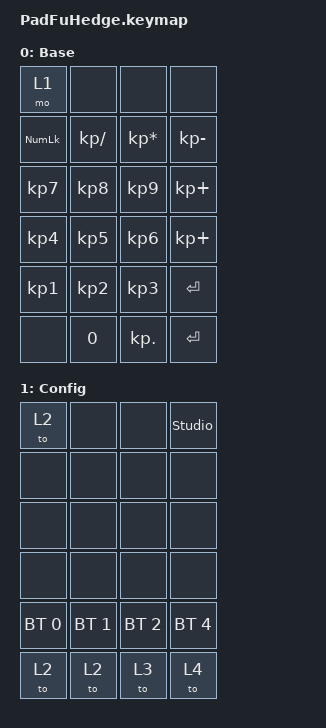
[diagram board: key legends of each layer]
#include <behaviors.dtsi>
#include <dt-bindings/zmk/keys.h>
#include <dt-bindings/zmk/bt.h>

/ {
    macros {
        mp_01: mp_01 {
            compatible = "zmk,behavior-macro";
            #binding-cells = <0>;
            bindings = <&kp F13>;
        };

        mp_02: mp_02 {
            compatible = "zmk,behavior-macro";
            #binding-cells = <0>;
            bindings = <&kp F14>;
        };

        mp_03: mp_03 {
            compatible = "zmk,behavior-macro";
            #binding-cells = <0>;
            bindings = <&kp F15>;
        };

        mp_04: mp_04 {
            compatible = "zmk,behavior-macro";
            #binding-cells = <0>;
            bindings = <&kp F16>;
        };

        mp_05: mp_05 {
            compatible = "zmk,behavior-macro";
            #binding-cells = <0>;
            bindings = <&kp F17>;
        };

        mp_06: mp_06 {
            compatible = "zmk,behavior-macro";
            #binding-cells = <0>;
            bindings = <&kp F18>;
        };

        mp_07: mp_07 {
            compatible = "zmk,behavior-macro";
            #binding-cells = <0>;
            bindings = <&kp F19>;
        };

        mp_08: mp_08 {
            compatible = "zmk,behavior-macro";
            #binding-cells = <0>;
            bindings = <&kp F20>;
        };

        mp_09: mp_09 {
            compatible = "zmk,behavior-macro";
            #binding-cells = <0>;
            bindings = <&kp F21>;
        };

        mp_10: mp_10 {
            compatible = "zmk,behavior-macro";
            #binding-cells = <0>;
            bindings = <&kp F22>;
        };

        mp_11: mp_11 {
            compatible = "zmk,behavior-macro";
            #binding-cells = <0>;
            bindings = <&kp F23>;
        };

        mp_12: mp_12 {
            compatible = "zmk,behavior-macro";
            #binding-cells = <0>;
            bindings = <&kp F24>;
        };



        // LSHIFT+F KEYS




                mp_13: mp_13 {
            compatible = "zmk,behavior-macro";
            #binding-cells = <0>;
            bindings
                = <&macro_press &kp LSHFT>
                , <&macro_tap &kp F13>
                , <&macro_release &kp LSHFT>
                ;
        };

        mp_14: mp_14 {
            compatible = "zmk,behavior-macro";
            #binding-cells = <0>;
            bindings
                = <&macro_press &kp LSHFT>
                , <&macro_tap &kp F14>
                , <&macro_release &kp LSHFT>
                ;
        };

        mp_15: mp_15 {
            compatible = "zmk,behavior-macro";
            #binding-cells = <0>;
            bindings
                = <&macro_press &kp LSHFT>
                , <&macro_tap &kp F15>
                , <&macro_release &kp LSHFT>
                ;
        };

        mp_16: mp_16 {
            compatible = "zmk,behavior-macro";
            #binding-cells = <0>;
            bindings
                = <&macro_press &kp LSHFT>
                , <&macro_tap &kp F16>
                , <&macro_release &kp LSHFT>
                ;
        };

        mp_17: mp_17 {
            compatible = "zmk,behavior-macro";
            #binding-cells = <0>;
            bindings
                = <&macro_press &kp LSHFT>
                , <&macro_tap &kp F17>
                , <&macro_release &kp LSHFT>
                ;
        };

        mp_18: mp_18 {
            compatible = "zmk,behavior-macro";
            #binding-cells = <0>;
            bindings
                = <&macro_press &kp LSHFT>
                , <&macro_tap &kp F18>
                , <&macro_release &kp LSHFT>
                ;
        };

        mp_19: mp_19 {
            compatible = "zmk,behavior-macro";
            #binding-cells = <0>;
            bindings
                = <&macro_press &kp LSHFT>
                , <&macro_tap &kp F19>
                , <&macro_release &kp LSHFT>
                ;
        };

        mp_20: mp_20 {
            compatible = "zmk,behavior-macro";
            #binding-cells = <0>;
            bindings
                = <&macro_press &kp LSHFT>
                , <&macro_tap &kp F20>
                , <&macro_release &kp LSHFT>
                ;
        };

        mp_21: mp_21 {
            compatible = "zmk,behavior-macro";
            #binding-cells = <0>;
            bindings
                = <&macro_press &kp LSHFT>
                , <&macro_tap &kp F21>
                , <&macro_release &kp LSHFT>
                ;
        };

        mp_22: mp_22 {
            compatible = "zmk,behavior-macro";
            #binding-cells = <0>;
            bindings
                = <&macro_press &kp LSHFT>
                , <&macro_tap &kp F22>
                , <&macro_release &kp LSHFT>
                ;
        };

        mp_23: mp_23 {
            compatible = "zmk,behavior-macro";
            #binding-cells = <0>;
            bindings
                = <&macro_press &kp LSHFT>
                , <&macro_tap &kp F23>
                , <&macro_release &kp LSHFT>
                ;
        };

        mp_24: mp_24 {
            compatible = "zmk,behavior-macro";
            #binding-cells = <0>;
            bindings
                = <&macro_press &kp LSHFT>
                , <&macro_tap &kp F24>
                , <&macro_release &kp LSHFT>
                ;
        };



       // CTRL+F KEYS




        mp_25: mp_25 {
            compatible = "zmk,behavior-macro";
            #binding-cells = <0>;
            bindings
                = <&macro_press &kp LCTRL>
                , <&macro_tap &kp F13>
                , <&macro_release &kp LCTRL>
                ;
        };

        mp_26: mp_26 {
            compatible = "zmk,behavior-macro";
            #binding-cells = <0>;
            bindings
                = <&macro_press &kp LCTRL>
                , <&macro_tap &kp F14>
                , <&macro_release &kp LCTRL>
                ;
        };

        mp_27: mp_27 {
            compatible = "zmk,behavior-macro";
            #binding-cells = <0>;
            bindings
                = <&macro_press &kp LCTRL>
                , <&macro_tap &kp F15>
                , <&macro_release &kp LCTRL>
                ;
        };

        mp_28: mp_28 {
            compatible = "zmk,behavior-macro";
            #binding-cells = <0>;
            bindings
                = <&macro_press &kp LCTRL>
                , <&macro_tap &kp F16>
                , <&macro_release &kp LCTRL>
                ;
        };

        mp_29: mp_29 {
            compatible = "zmk,behavior-macro";
            #binding-cells = <0>;
            bindings
                = <&macro_press &kp LCTRL>
                , <&macro_tap &kp F17>
                , <&macro_release &kp LCTRL>
                ;
        };

        mp_30: mp_30 {
            compatible = "zmk,behavior-macro";
            #binding-cells = <0>;
            bindings
                = <&macro_press &kp LCTRL>
                , <&macro_tap &kp F18>
                , <&macro_release &kp LCTRL>
                ;
        };

        mp_31: mp_31 {
            compatible = "zmk,behavior-macro";
            #binding-cells = <0>;
            bindings
                = <&macro_press &kp LCTRL>
                , <&macro_tap &kp F19>
                , <&macro_release &kp LCTRL>
                ;
        };

        mp_32: mp_32 {
            compatible = "zmk,behavior-macro";
            #binding-cells = <0>;
            bindings
                = <&macro_press &kp LCTRL>
                , <&macro_tap &kp F20>
                , <&macro_release &kp LCTRL>
                ;
        };

        mp_33: mp_33 {
            compatible = "zmk,behavior-macro";
            #binding-cells = <0>;
            bindings
                = <&macro_press &kp LCTRL>
                , <&macro_tap &kp F21>
                , <&macro_release &kp LCTRL>
                ;
        };

        mp_34: mp_34 {
            compatible = "zmk,behavior-macro";
            #binding-cells = <0>;
            bindings
                = <&macro_press &kp LCTRL>
                , <&macro_tap &kp F22>
                , <&macro_release &kp LCTRL>
                ;
        };

        mp_35: mp_35 {
            compatible = "zmk,behavior-macro";
            #binding-cells = <0>;
            bindings
                = <&macro_press &kp LCTRL>
                , <&macro_tap &kp F23>
                , <&macro_release &kp LCTRL>
                ;
        };

        mp_36: mp_36 {
            compatible = "zmk,behavior-macro";
            #binding-cells = <0>;
            bindings
                = <&macro_press &kp LCTRL>
                , <&macro_tap &kp F24>
                , <&macro_release &kp LCTRL>
                ;
        };



       // Alt+F KEYS



        mp_37: mp_37 {
            compatible = "zmk,behavior-macro";
            #binding-cells = <0>;
            bindings
                = <&macro_press &kp LALT>
                , <&macro_tap &kp F13>
                , <&macro_release &kp LALT>
                ;
        };

        mp_38: mp_38 {
            compatible = "zmk,behavior-macro";
            #binding-cells = <0>;
            bindings
                = <&macro_press &kp LALT>
                , <&macro_tap &kp F14>
                , <&macro_release &kp LALT>
                ;
        };

        mp_39: mp_39 {
            compatible = "zmk,behavior-macro";
            #binding-cells = <0>;
            bindings
                = <&macro_press &kp LALT>
                , <&macro_tap &kp F15>
                , <&macro_release &kp LALT>
                ;
        };

        mp_40: mp_40 {
            compatible = "zmk,behavior-macro";
            #binding-cells = <0>;
            bindings
                = <&macro_press &kp LALT>
                , <&macro_tap &kp F16>
                , <&macro_release &kp LALT>
                ;
        };

        mp_41: mp_41 {
            compatible = "zmk,behavior-macro";
            #binding-cells = <0>;
            bindings
                = <&macro_press &kp LALT>
                , <&macro_tap &kp F17>
                , <&macro_release &kp LALT>
                ;
        };

        mp_42: mp_42 {
            compatible = "zmk,behavior-macro";
            #binding-cells = <0>;
            bindings
                = <&macro_press &kp LALT>
                , <&macro_tap &kp F18>
                , <&macro_release &kp LALT>
                ;
        };

        mp_43: mp_43 {
            compatible = "zmk,behavior-macro";
            #binding-cells = <0>;
            bindings
                = <&macro_press &kp LALT>
                , <&macro_tap &kp F19>
                , <&macro_release &kp LALT>
                ;
        };

        mp_44: mp_44 {
            compatible = "zmk,behavior-macro";
            #binding-cells = <0>;
            bindings
                = <&macro_press &kp LALT>
                , <&macro_tap &kp F20>
                , <&macro_release &kp LALT>
                ;
        };

        mp_45: mp_45 {
            compatible = "zmk,behavior-macro";
            #binding-cells = <0>;
            bindings
                = <&macro_press &kp LALT>
                , <&macro_tap &kp F21>
                , <&macro_release &kp LALT>
                ;
        };

        mp_46: mp_46 {
            compatible = "zmk,behavior-macro";
            #binding-cells = <0>;
            bindings
                = <&macro_press &kp LALT>
                , <&macro_tap &kp F22>
                , <&macro_release &kp LALT>
                ;
        };
    };

    keymap {
        compatible = "zmk,keymap";

        // ==== Layer 0 - Base Numbers + Letters ====
        base_layer {
            display-name = "Base";
            bindings = <
                &mo 1             &none           &none              &none
                &kp KP_NUM        &kp KP_SLASH    &kp KP_MULTIPLY    &kp KP_MINUS
                &kp KP_N7         &kp KP_N8       &kp KP_N9          &kp KP_PLUS
                &kp KP_N4         &kp KP_N5       &kp KP_N6          &kp KP_PLUS
                &kp KP_N1         &kp KP_N2       &kp KP_N3          &kp ENTER
                &none             &kp N0          &kp KP_DOT         &kp ENTER
            >;
        };

        // ==== Layer 1
        config_layer {
            display-name = "Config";
            bindings = <
                &to 2          &none        &none           &studio_unlock
                &none          &none        &none           &none
                &none          &none        &none           &none
                &none          &none        &none           &none
                &bt BT_SEL 0   &bt BT_SEL 1 &bt BT_SEL 2    &bt BT_SEL 4
                &to 2          &to 2        &to 3           &to 4
            >;
        };

        extra_layer_2 {
            status = "reserved";
        };

        extra_layer_3 {
            status = "reserved";
        };

        extra_layer_4 {
            status = "reserved";
        };

        extra_layer_5 {
            status = "reserved";
        };
    };
};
